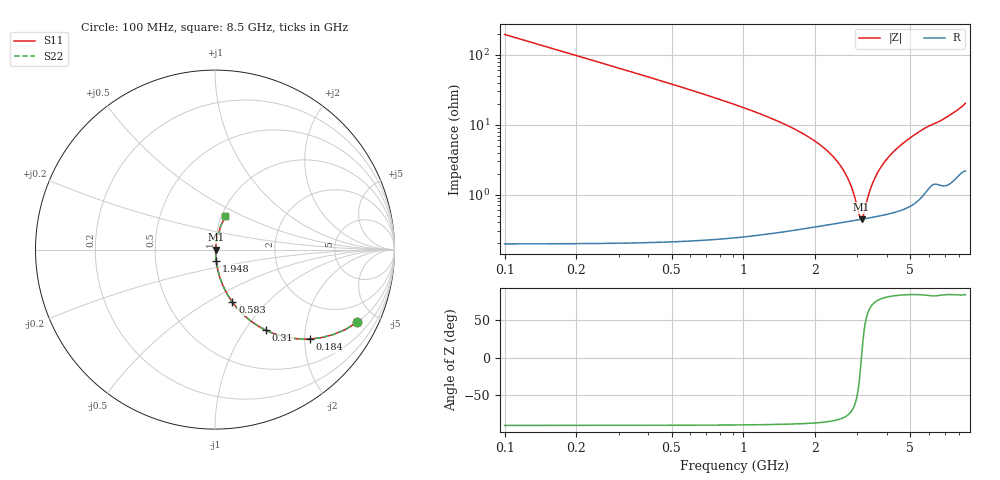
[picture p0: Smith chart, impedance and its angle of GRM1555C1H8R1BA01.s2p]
!Murata Part Number: GRM1555C1H8R1BA01
!These Parameters are Measured in Series Mode Connection
!Data Generated on Mar 30, 2021
!  o--ll--o
!Port1  Port2
!  o------o
!Operation Temp=25[degC], DC Bias Voltage=0[V]
!Freq. Start=100[MHz] Stop=9[GHz] 401[Steps]
# Hz S RI R 50
!Freq.(Hz) S11(Real) S11(Imag) S21(Real) S21(Imag) S12(Real) S12(Imag) S22(Real) S22(Imag)
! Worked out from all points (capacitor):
!   401 points, 100 MHz to 8.5 GHz, reference 50 ohm
!   read as one part in series: C = 8.1 pF near 142 MHz
!   lowest |Z| = 443 mohm at 3.124 GHz (marker M1)
!   series resonance near 3.119 GHz, so ESL is about 320 pH
!   S11 on the Smith chart (normalised r, x): 100 MHz: 1.00, -3.93; 184 MHz: 1.00, -2.13; 310 MHz: 1.00, -1.25; 583 MHz: 1.00, -0.65; 1.948 GHz: 1.01, -0.12; 8.5 GHz: 1.04, +0.40
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1e8  0.7937 -0.4042  0.2063 0.4042  0.2063 0.4042  0.7937 -0.4042
1.84e8  0.531 -0.4981  0.469 0.4981  0.469 0.4981  0.531 -0.4981
3.1e8  0.2831 -0.4489  0.7169 0.4489  0.7169 0.4489  0.2831 -0.4489
4.36e8  0.1644 -0.3683  0.8356 0.3683  0.8356 0.3683  0.1644 -0.3683
5.83e8  0.0971 -0.2928  0.9029 0.2928  0.9029 0.2928  0.0971 -0.2928
9.61e8  0.0352 -0.1778  0.9648 0.1778  0.9648 0.1778  0.0352 -0.1778
1.507e9  0.0127 -0.0981  0.9873 0.0981  0.9873 0.0981  0.0127 -0.0981
1.948e9  0.0071 -0.0607  0.9929 0.0607  0.9929 0.0607  0.0071 -0.0607
2.557e9  0.00456 -0.025  0.9954 0.025  0.9954 0.025  0.00456 -0.025
2.746e9  0.00435 -0.016  0.9956 0.016  0.9956 0.016  0.00435 -0.016
2.914e9  0.00431 -0.00854  0.9957 0.00854  0.9957 0.00854  0.00431 -0.00854
3.061e9  0.00436 -0.00236  0.9956 0.00236  0.9956 0.00236  0.00436 -0.00236
3.124e9  0.00441 0.000194  0.9956 -0.000194  0.9956 -0.000194  0.00441 0.000194
3.187e9  0.00447 0.0027  0.9955 -0.0027  0.9955 -0.0027  0.00447 0.0027
3.397e9  0.00475 0.0108  0.9952 -0.0108  0.9952 -0.0108  0.00475 0.0108
3.586e9  0.00511 0.0177  0.9949 -0.0177  0.9949 -0.0177  0.00511 0.0177
3.901e9  0.00592 0.0286  0.9941 -0.0286  0.9941 -0.0286  0.00592 0.0286
4.3e9  0.00729 0.0418  0.9927 -0.0418  0.9927 -0.0418  0.00729 0.0418
4.909e9  0.0103 0.061  0.9897 -0.061  0.9897 -0.061  0.0103 0.061
5.707e9  0.0173 0.085  0.9827 -0.085  0.9827 -0.085  0.0173 0.085
7.114e9  0.029 0.1233  0.971 -0.1233  0.971 -0.1233  0.029 0.1233
8.5e9  0.0581 0.1861  0.9419 -0.1861  0.9419 -0.1861  0.0581 0.1861
